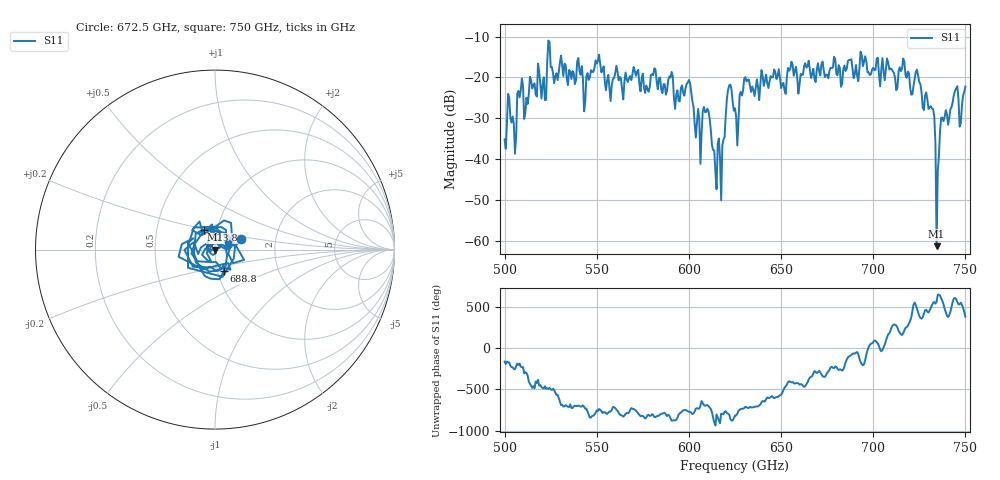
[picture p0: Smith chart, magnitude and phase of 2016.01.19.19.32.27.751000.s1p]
!Created with skrf (http://scikit-rf.org).
# GHz S RI R 50.0
!freq ReS11 ImS11
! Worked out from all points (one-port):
!   401 points, 500 GHz to 750 GHz, reference 50 ohm
!   lowest |S11| = -61.3 dB at 734.4 GHz (marker M1), VSWR 1.00, Z = 49.9 - j0.036 ohm
!   |S11| at or under -10 dB: start of sweep to end of sweep
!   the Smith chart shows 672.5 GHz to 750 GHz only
!   S11 on the Smith chart (normalised r, x): 672.5 GHz: 1.32, +0.16; 688.8 GHz: 1.07, -0.26; 723.8 GHz: 0.87, +0.19; 750 GHz: 1.15, +0.07
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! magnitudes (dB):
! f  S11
! 500 GHz  -35.2
! 503.1 GHz  -29.8
! 505 GHz  -31.4
! 508.1 GHz  -24.9
! 511.9 GHz  -25.0
! 521.2 GHz  -20.0
! 524.4 GHz  -11.3
! 531.2 GHz  -17.2
! 562.5 GHz  -19.9
! 590 GHz  -20.1
! 593.8 GHz  -23.2
! 600 GHz  -20.6
! 605 GHz  -27.7
! 609.4 GHz  -28.5
! 616.2 GHz  -35.0
! 621.9 GHz  -21.9
! 625 GHz  -27.6
! 631.2 GHz  -21.0
! 656.2 GHz  -16.9
! 672.5 GHz  -16.1
! 687.5 GHz  -15.7
! 688.8 GHz  -17.8
! 718.8 GHz  -18.6
! 723.8 GHz  -18.1
! 731.9 GHz  -27.6
! 734.4 GHz  -61.3
! 738.1 GHz  -30.7
! 750 GHz  -22.3
